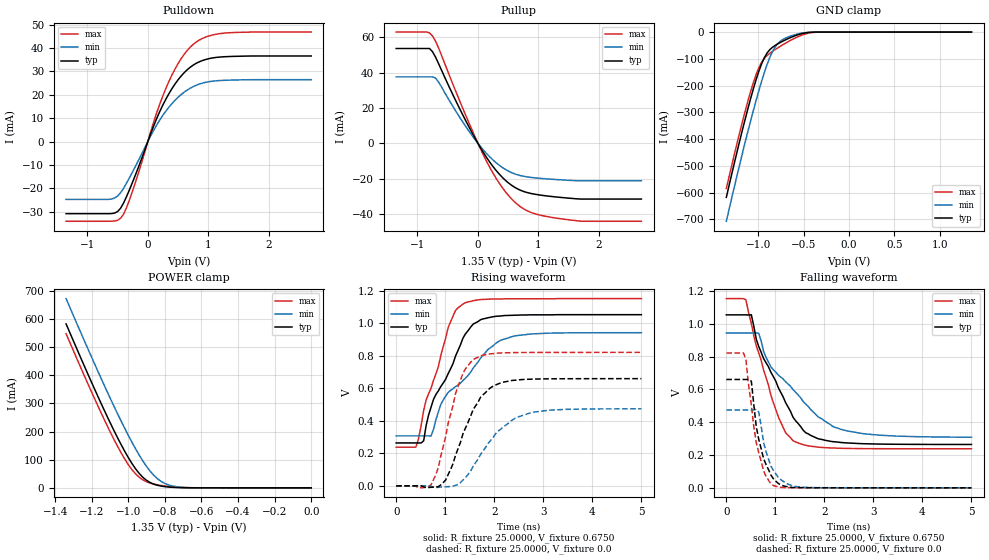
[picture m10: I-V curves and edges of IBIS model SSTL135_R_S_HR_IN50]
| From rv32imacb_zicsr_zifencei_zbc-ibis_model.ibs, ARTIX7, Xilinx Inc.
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[Model]  SSTL135_R_S_HR_IN50
Model_type I/O
Polarity   Non-Inverting
Enable   Active-Low
Vinl = 0.525
Vinh = 0.825
Vmeas =  0.6750V
Cref =   0.0F
Rref =   25.0000
Vref =   0.6750V
C_comp   7.6500pF   7.4800pF   7.7300pF
[Model Spec]
Vinl   0.585   0.55125   0.61875
Vinh   0.765   0.73125   0.79875
[Temperature Range]   25.0000   85.0000   0.0
[Voltage Range]   1.3500V   1.2825V   1.4175V
[Add Submodel]
| Submodel Name   Mode
IN50_1V35   Non-Driving
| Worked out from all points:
|   slope of the pulldown table from 0 to 0.203 V, typ, clamps not added: 15.4 ohm
|   slope of the pullup table from 0 to 0.203 V, typ, clamps not added: 18.4 ohm
|   GND clamp passes 1 mA (typ) near -0.42 V on its own axis
|   POWER clamp passes 1 mA (typ) near -0.73 V on its own axis
|   rising waveform, R_fixture 25.0000, V_fixture 0.6750: 20-80 % time 695ps typ, 967ps min, 520ps max; typ from 0.264 V to 1.05 V
|   rising waveform, R_fixture 25.0000, V_fixture 0.0: 20-80 % time 538ps typ, 739ps min, 423ps max; typ from 0 V to 0.66 V
|   falling waveform, R_fixture 25.0000, V_fixture 0.6750: 20-80 % time 758ps typ, 1.08ns min, 547ps max; typ from 1.05 V to 0.264 V
|   falling waveform, R_fixture 25.0000, V_fixture 0.0: 20-80 % time 273ps typ, 279ps min, 265ps max; typ from 0.66 V to 0 V
[Pulldown]
|Voltage   I(typ)   I(min)   I(max)
-1.35V    -30.79mA   -24.69mA   -34.04mA
-600mV    -30.75mA   -24.54mA   -34.02mA
-450mV    -28.49mA   -21.86mA   -32.77mA
-400mV    -26.24mA   -19.93mA   -30.98mA
-300mV    -20.38mA   -15.29mA   -24.68mA
100mV     6.928mA    4.99mA     8.617mA
300mV     18.22mA    13.09mA    22.83mA
550mV     28mA       20.09mA    35.42mA
800mV     33.47mA    24.08mA    42.56mA
1V        35.39mA    25.56mA    45.08mA
1.25V     36.25mA    26.18mA    46.34mA
2.7V      36.6mA     26.46mA    46.83mA
[Pullup]
|Voltage   I(typ)   I(min)   I(max)
-1.35V    53.75mA    37.67mA    63.08mA
-850mV    53.75mA    37.67mA    63.08mA
-800mV    53.75mA    37.67mA    62.6mA
-750mV    51.94mA    37.67mA    60.82mA
-650mV    45.17mA    34.69mA    54.06mA
-250mV    16.1mA     12.06mA    19.82mA
100mV     -5.751mA   -4.173mA   -7.293mA
400mV     -19.18mA   -13.6mA    -24.97mA
700mV     -26.56mA   -18.28mA   -35.88mA
1V        -29.18mA   -19.76mA   -40.48mA
1.55V     -31.22mA   -21.06mA   -43.55mA
2.7V      -31.59mA   -21.19mA   -44.18mA
[GND_clamp]
|Voltage   I(typ)   I(min)   I(max)
-1.35V    -617.9mA   -707.4mA   -584.6mA
-1.23V    -445mA     -533.4mA   -413mA
-1.14V    -322.4mA   -408.3mA   -292.6mA
-1.08V    -245.7mA   -328.8mA   -219.5mA
-1.02V    -175.8mA   -253.2mA   -157.1mA
-960mV    -117.6mA   -182.5mA   -112.3mA
-900mV    -77.8mA    -120.3mA   -87.39mA
-840mV    -56.59mA   -71.85mA   -71.8mA
-750mV    -37.97mA   -32.77mA   -52.11mA
-570mV    -11.08mA   -7.832mA   -18.89mA
-390mV    -398uA     -340.7uA   -1.295mA
1.35V     7.295nA    86.39nA    6.229nA
[POWER_clamp]
|Voltage   I(typ)   I(min)   I(max)
-1.34V    582.1mA    671.9mA    547.4mA
-1.24V    432.2mA    522mA      397.7mA
-1.14V    287.7mA    376.3mA    254.3mA
-1.08V    205.7mA    292.1mA    174.1mA
-1.02V    130.4mA    212mA      103mA
-960mV    67.49mA    138.3mA    49.51mA
-920mV    37.23mA    94.99mA    28.16mA
-880mV    18.51mA    58.79mA    16.73mA
-840mV    8.917mA    32.05mA    10.55mA
-780mV    2.85mA     10.38mA    4.974mA
-700mV    426.8uA    1.685mA    1.091mA
0V        7.296nA    75.45nA    7.466nA
[Ramp]
| variable   typ   min   max
dV/dt_r  0.396/0.1088n   0.285/0.2245n   0.4931/31.5853p
dV/dt_f  0.464/0.1446n   0.347/0.3995n   0.549/50.5000p
R_load = 25.0000
[Rising Waveform]
R_fixture= 25.0000
V_fixture= 0.6750
V_fixture_min= 0.6412
V_fixture_max= 0.7087
|time   V(typ)   V(min)   V(max)
0s        264.1mV    307.5mV    237.9mV
400ps     264.1mV    307.5mV    238.1mV
560ps     277.8mV    307.5mV    464.4mV
710ps     483.8mV    306.8mV    600.7mV
910ps     611.6mV    501.6mV    803mV
1.06ns    691.2mV    575.2mV    975.7mV
1.36ns    908.5mV    648.1mV    1.119V
1.72ns    1.023V     786.7mV    1.147V
2.37ns    1.05V      919.2mV    1.152V
5ns       1.054V     943.1mV    1.153V
[Rising Waveform]
R_fixture= 25.0000
V_fixture= 0.0
|time   V(typ)   V(min)   V(max)
0s        0V         0V         0V
710ps     -9.106mV   -1.512mV   6.472mV
860ps     -4.903mV   -9.137mV   113.8mV
1.01ns    36.58mV    -6.021mV   305.3mV
1.26ns    227.9mV    8.461mV    612.6mV
1.57ns    469.9mV    120.8mV    777.4mV
1.92ns    603mV      277.2mV    812.9mV
2.47ns    651.9mV    422.6mV    820.8mV
3.13ns    659mV      466.1mV    821.6mV
5ns       660mV      474.3mV    821.8mV
[Falling Waveform]
R_fixture= 25.0000
V_fixture= 0.6750
V_fixture_min= 0.6412
V_fixture_max= 0.7087
|time   V(typ)   V(min)   V(max)
0s        1.054V     943.2mV    1.153V
400ps     1.054V     943.2mV    1.145V
510ps     1.054V     943.2mV    1.001V
660ps     861.5mV    942.5mV    821.9mV
960ps     677.2mV    719.5mV    518.2mV
1.21ns    518.4mV    645.8mV    335.5mV
1.36ns    430.3mV    598.7mV    287mV
1.62ns    335.6mV    510.3mV    259mV
2.32ns    277mV      358.2mV    241.2mV
5ns       264.3mV    308.5mV    238mV
[Falling Waveform]
R_fixture= 25.0000
V_fixture= 0.0
|time   V(typ)   V(min)   V(max)
0s        660.2mV    474.8mV    821.9mV
350ps     660.2mV    474.8mV    822.4mV
400ps     660.1mV    474.8mV    781.2mV
510ps     649.8mV    474.8mV    506.1mV
610ps     374mV      478.8mV    275.8mV
660ps     297.5mV    462.2mV    216mV
760ps     178mV      276.5mV    103.3mV
960ps     55.51mV    106.7mV    14.26mV
1.57ns    1.055mV    3.433mV    571.2uV
5ns       62.82uV    98.13uV    42.48uV
